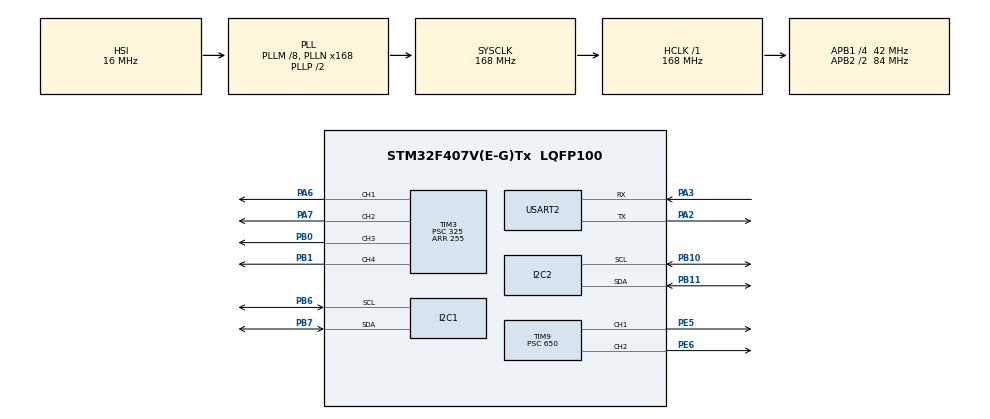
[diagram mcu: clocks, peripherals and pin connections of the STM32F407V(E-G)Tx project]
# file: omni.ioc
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Mcu.Family=STM32F4
Mcu.Name=STM32F407V(E-G)Tx
Mcu.Package=LQFP100
NVIC.PriorityGroup=NVIC_PRIORITYGROUP_0
NVIC.TIM5_IRQn=true\:0\:0\:false\:false\:true\:true\:true\:true
PA13.Mode=Serial_Wire
PA13.Signal=SYS_JTMS-SWDIO
PA14.Mode=Serial_Wire
PA14.Signal=SYS_JTCK-SWCLK
PA2.Mode=Asynchronous
PA2.Signal=USART2_TX
PA3.Mode=Asynchronous
PA3.Signal=USART2_RX
PA6.Signal=S_TIM3_CH1
PA7.Signal=S_TIM3_CH2
PB0.Signal=S_TIM3_CH3
PB1.Signal=S_TIM3_CH4
PB10.Mode=I2C
PB10.Signal=I2C2_SCL
PB11.Mode=I2C
PB11.Signal=I2C2_SDA
PB6.Mode=I2C
PB6.Signal=I2C1_SCL
PB7.Mode=I2C
PB7.Signal=I2C1_SDA
PE5.Signal=S_TIM9_CH1
PE6.Signal=S_TIM9_CH2
ProjectManager.HeapSize=0x200
ProjectManager.StackSize=0x400
ProjectManager.TargetToolchain=STM32CubeIDE
RCC.48MHZClocksFreq_Value=48000000
RCC.AHBFreq_Value=168000000
RCC.APB1CLKDivider=RCC_HCLK_DIV4
RCC.APB1Freq_Value=42000000
RCC.APB1TimFreq_Value=84000000
RCC.APB2CLKDivider=RCC_HCLK_DIV2
RCC.APB2Freq_Value=84000000
RCC.APB2TimFreq_Value=168000000
RCC.CortexFreq_Value=168000000
RCC.HCLKFreq_Value=168000000
RCC.HSE_VALUE=8000000
RCC.HSI_VALUE=16000000
RCC.PLLM=8
RCC.PLLN=168
RCC.PLLQ=7
RCC.SYSCLKFreq_VALUE=168000000
RCC.SYSCLKSource=RCC_SYSCLKSOURCE_PLLCLK
RCC.VCOOutputFreq_Value=336000000
SH.S_TIM3_CH1.0=TIM3_CH1,PWM Generation1 CH1
SH.S_TIM3_CH2.0=TIM3_CH2,PWM Generation2 CH2
SH.S_TIM3_CH3.0=TIM3_CH3,PWM Generation3 CH3
SH.S_TIM3_CH4.0=TIM3_CH4,PWM Generation4 CH4
SH.S_TIM9_CH1.0=TIM9_CH1,PWM Generation1 CH1
SH.S_TIM9_CH2.0=TIM9_CH2,PWM Generation2 CH2
TIM3.Channel-PWM\ Generation1\ CH1=TIM_CHANNEL_1
TIM3.Channel-PWM\ Generation2\ CH2=TIM_CHANNEL_2
TIM3.Channel-PWM\ Generation3\ CH3=TIM_CHANNEL_3
TIM3.Channel-PWM\ Generation4\ CH4=TIM_CHANNEL_4
TIM3.Period=255
TIM3.Prescaler=325
TIM5.Period=100-1
TIM5.Prescaler=8400-1
TIM9.Channel-PWM\ Generation1\ CH1=TIM_CHANNEL_1
TIM9.Channel-PWM\ Generation2\ CH2=TIM_CHANNEL_2
TIM9.Period=255
TIM9.Prescaler=650
USART2.VirtualMode=VM_ASYNC
VP_TIM3_VS_ClockSourceINT.Mode=Internal
VP_TIM5_VS_ClockSourceINT.Mode=Internal
VP_TIM9_VS_ClockSourceINT.Mode=Internal
board=STM32F407G-DISC1

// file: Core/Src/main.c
/* USER CODE BEGIN Header */
/**
  ******************************************************************************
  * @file           : main.c
  * @brief          : Main program body
  ******************************************************************************
  * @attention
  *
  * Copyright (c) 2026 STMicroelectronics.
  * All rights reserved.
  *
  * This software is licensed under terms that can be found in the LICENSE file
  * in the root directory of this software component.
  * If no LICENSE file comes with this software, it is provided AS-IS.
  *
  ******************************************************************************
  */
/* USER CODE END Header */
#include "main.h"

/* USER CODE BEGIN Includes */
#include<stdio.h>
#include<stdbool.h>
#include<stdint.h>
#include<string.h>
#include<math.h>
/* USER CODE END Includes */

/* USER CODE BEGIN PD */

#define BNO055_ADDR (0x28 << 1)
#define PWR_MODE 0x3E
#define OPR_MODE 0x3D
#define EUL_DATA_START 0x1A

uint8_t bno_data[6];
float current_heading, current_roll, current_pitch;

#define data_size 5
#define slave_addr 8
uint8_t data[data_size];
char buffer[100];

int L_joystick_x = 0, L_joystick_y = 0, R_joystick_x = 0, R_joystick_y = 0;

#define radius       1
#define length       1
#define MAX_PWM      60
#define DEADZONE     35
#define dt           0.001

uint8_t L2;
uint8_t R2;
bool L1;
bool R1;

bool right;
bool down;
bool up;
bool left;
bool square;
bool cross;
bool circle;
bool triangle;

int pwm1, pwm2, pwm3;

float bot_vel, theta;
int16_t omega;
  bool flag = false;
bool moving = false;
bool is_omega = false;
  bool pid_tim = false;

float P,I,D;
float p,i,d;

float kp = 0;
float ki = 0;
float kd = 0;
float KP = 2.5;
float KI = 0;
float KD = 0.5;

float k = 0.0015;
float error, error1, error2, d_error;
float ERR, ERR1, ERR2, D_error;
float correction;
float CORRECTION;
float target_heading = 0;

 bool pid = true;

 unsigned long  t_start, t_end;
 float dt2;

volatile bool imu = false;

uint32_t i2c1, i2c2;

/* USER CODE END PD */

I2C_HandleTypeDef hi2c1;
I2C_HandleTypeDef hi2c2;

TIM_HandleTypeDef htim3;
TIM_HandleTypeDef htim5;
TIM_HandleTypeDef htim9;

UART_HandleTypeDef huart2;

void SystemClock_Config(void);
static void MX_GPIO_Init(void);
static void MX_TIM3_Init(void);
static void MX_TIM9_Init(void);
static void MX_I2C1_Init(void);
static void MX_USART2_UART_Init(void);
static void MX_TIM5_Init(void);
static void MX_I2C2_Init(void);

/* USER CODE BEGIN 0 */

float radians(float angle){
  	return angle*2*3.14159265358979323846/360.0;
  }

  float degrees(float angle){
  	return angle*360.0/(2*3.14159265358979323846);
  }

  long map(long x, long in_min, long in_max, long out_min, long out_max)
  {
    return (x - in_min) * (out_max - out_min) / (in_max - in_min) + out_min;
  }

  float constrain(float num, float min, float max){

  	if(num > max) {
  		return max;
  	}

  	else if(num < min){
  		return min;
  	}

  	else {
  		return num;
  	}
  }

  float abs(float value){
	  if(value < 0){
		  return -value;
	  }
	  else{
		  return value;
	  }
  }

  void BNO055_init(){

   uint8_t pwr = 0x00;
   uint8_t opr = 0x0C;
   uint8_t config = 0x00;

    HAL_I2C_Mem_Write(&hi2c2, BNO055_ADDR, OPR_MODE, 1, &config, 1, 100); // setting to config mode
  	HAL_I2C_Mem_Write(&hi2c2, BNO055_ADDR, PWR_MODE, 1, &pwr, 1, 100);  // setting bno055 to normal mode
  	HAL_I2C_Mem_Write(&hi2c2, BNO055_ADDR, OPR_MODE, 1, &opr, 1, 100); // setting to Ndof mode

  	//HAL_Delay(700);

  }

  float normalise_angle(float angle)
  {
      if(angle > 180.0)  {
    	  angle -= 360.0;
      }
      if(angle < -180.0) {
    	  angle += 360.0;
      }
      return angle;
  }

  void get_angle(){

  	  //HAL_I2C_Mem_Read(&hi2c2, BNO055_ADDR,EUL_DATA_START , 1, bno_data, 6, 100);
//      current_heading = (bno_data[0] | (bno_data[1] << 8)/16);
//      current_roll = bno_data[2] | (bno_data[3] << 8)/16;
//      current_pitch = bno_data[4] | (bno_data[5] << 8)/16;

//  	int16_t heading_raw = (int16_t)(bno_data[0] | (bno_data[1] << 8));
//  	int16_t roll_raw    = (int16_t)(bno_data[2] | (bno_data[3] << 8));
//  	int16_t pitch_raw   = (int16_t)(bno_data[4] | (bno_data[5] << 8));
//
//  	    current_heading = normalise_angle(heading_raw / 16.0f);
//  	    current_roll    = roll_raw / 16.0f;
//  	    current_pitch   = pitch_raw / 16.0f;

//      char buffer1[100];
//
//    		    		      sprintf(buffer1, "heading = %d \t roll = %d \t pitch = %d \r\n",  current_heading, current_roll, current_pitch);
//    		    		 	  HAL_UART_Transmit(&huart2, (uint8_t*)buffer1, strlen(buffer1), 100);

  	 if(HAL_I2C_Mem_Read(&hi2c2, BNO055_ADDR, EUL_DATA_START, 1, bno_data, 6, 100) == HAL_OK){

  	    int16_t heading_raw = (int16_t)((bno_data[1] << 8) | bno_data[0]);
  	    current_heading = heading_raw / 16.0;

  	    current_heading = normalise_angle(current_heading);
  	 }

  	 else{

  		 uint8_t resetCommand = 0x20;
  		 uint8_t resetCommandTrigRegAddr = 0x3F;

  	             	i2c2 = HAL_I2C_GetError(&hi2c2);
  		            HAL_I2C_DeInit(&hi2c2);
  		  		    HAL_Delay(50);
  		  		    HAL_I2C_Init(&hi2c2);
  		  		    HAL_Delay(100);

  		     // Write to SYS_TRIGGER (0x3F)
  		     HAL_I2C_Mem_Write(&hi2c2, BNO055_ADDR, resetCommandTrigRegAddr, I2C_MEMADD_SIZE_8BIT, &resetCommand, sizeof(resetCommand), 100);

  		     // Critical Delay: The datasheet says wait 650ms after reset
  		     HAL_Delay(700);
  		     BNO055_init();

  	 }

  }

  void get_value(){

  	 if(HAL_OK == (HAL_I2C_Master_Receive(&hi2c1, slave_addr << 1, (uint8_t*) data, data_size, HAL_MAX_DELAY))){

  		 L_joystick_x = map(data[0], 0, 255, -127, 127);
  		 L_joystick_y = map(data[1], 0, 255, -127, 127);
//  	     R_joystick_x = map(data[2], 0, 255, -127, 127);
//  	     R_joystick_y = map(data[3], 0, 255, -127, 127);

  		 right = ((data[2] & (1 << 0)) ? 1 : 0);
  		 down = ((data[2] & (1 << 1)) ? 1 : 0);
  	     up = ((data[2] & (1 << 2)) ? 1 : 0);
  	     left = ((data[2] & (1 << 3)) ? 1 : 0);
  	     square = ((data[2] & (1 << 4)) ? 1 : 0);
  	     cross = ((data[2] & (1 << 5)) ? 1 : 0);
  	     circle = ((data[2] & (1 << 6)) ? 1 : 0);
  	     triangle = ((data[2] & (1 << 7)) ? 1 : 0);

  	     L2 = data[3];
  	     R2 = data[4];
//  	     L1 = data[7];
//  	     R1 = data[8];

  	     omega = map(L2-R2, -255, 255, -40, 40);

  	   if(abs(L_joystick_x) < DEADZONE)
  	 	  {
  	 		  L_joystick_x = 0;
  	 	  }
  	 	  if(abs(L_joystick_y) < DEADZONE)
  	 		  {
  	 			  L_joystick_y = 0;
  	 		  }
  	 	  if(abs(omega) < DEADZONE)
  	 		  {
  	 			  omega = 0;
  	 		  }

//  		 char buffer1[100];
//
//  		      sprintf(buffer1, "%d \t %d \t %d \t %d \t %d \t %d \t %d    %d \r\n",  L_joystick_x,  L_joystick_y,  R_joystick_x,  R_joystick_y, data[4], data[5], data[6], omega);
//  		 	  HAL_UART_Transmit(&huart2, (uint8_t*)buffer1, strlen(buffer1), 100);
//
 	}

  	 else{

  		                    i2c1 = HAL_I2C_GetError(&hi2c1);
  	                    	HAL_I2C_DeInit(&hi2c1);
  		  		  		    HAL_Delay(50);
  		  		  		    HAL_I2C_Init(&hi2c1);
  		  		  		    HAL_Delay(100);

  	 }

  }

  void find_wheel_vel(){

	  bot_vel = sqrt( pow(L_joystick_x, 2) + pow( L_joystick_y, 2) );
	  theta = atan2(L_joystick_y, L_joystick_x) + radians(target_heading);

//	  pwm1 = constrain(((bot_vel*cos(theta) - (length*omega)) / radius) + correction, -MAX_PWM, MAX_PWM);
//	  pwm2 = constrain(((sqrt(3)*bot_vel*sin(theta) - bot_vel*cos(theta) - 2*length*omega) / (2*radius)) + correction, -MAX_PWM, MAX_PWM);
//	  pwm3 = constrain((-1*((bot_vel*cos(theta) + sqrt(3)*bot_vel*sin(theta) + 2*length*omega) / (2*radius))) + correction, -MAX_PWM, MAX_PWM);
//

	  pwm1 = constrain(((bot_vel*cos(theta) - (length*omega)) / radius) + CORRECTION, -MAX_PWM, MAX_PWM);
	  pwm2 = constrain(((sqrt(3)*bot_vel*sin(theta) - bot_vel*cos(theta) - 2*length*omega) / (2*radius)) + CORRECTION, -MAX_PWM, MAX_PWM);
	  pwm3 = constrain((-1*((bot_vel*cos(theta) + sqrt(3)*bot_vel*sin(theta) + 2*length*omega) / (2*radius))) + CORRECTION, -MAX_PWM, MAX_PWM);

	  //target_heading += omega*k;

//	  char buffer1[100];
//
//	  		    		      sprintf(buffer1, "pwm1 = %d \t pwm2 = %d \t pwm3 = %d \r\n",  pwm1, pwm2, pwm3);
//	  		    		 	  HAL_UART_Transmit(&huart2, (uint8_t*)buffer1, strlen(buffer1), 100);

  }

  void motor1(int speed){

	  if(speed > 0){
		  TIM3->CCR1 = speed;          //PA6
		  TIM3->CCR2 = 0;               //PA7

	  }

	  else{
		  TIM3->CCR1 = 0;
		  TIM3->CCR2 = -1*speed;

	  }

  }

  void motor2(int speed){

 	  if(speed > 0){
 		  TIM3->CCR3 = speed;          //PB0
 		  TIM3->CCR4 = 0;                //PB1

 	  }

 	  else{
 		  TIM3->CCR3 = 0;
 		  TIM3->CCR4 = -1*speed;

 	  }

   }

  void motor3(int speed){

 	  if(speed > 0){
 		  TIM9->CCR1 = speed;     //PE5
 		  TIM9->CCR2 = 0;         //PE6
 	  }

 	  else{
 		  TIM9->CCR1 = 0;
 		  TIM9->CCR2 = -1*speed;

 	  }

   }

  void PID(){

//   error = normalise_angle(target_heading - current_heading);
//   d_error = error - error2;
//   error2 = error;
//
//  P = error*kp;
//  I = I + (error*dt*ki);
//  D = (d_error/dt)*kd;
//
//  correction = P+I+D;

  }

  void rotate_motor(){

	      motor1(pwm1);
	      motor2(pwm2);
	      motor3(pwm3);

  }

  void rotate_motor2(){

 	      motor1(constrain(correction, -70, 70));
 	      motor2(constrain(correction, -70, 70));
 	      motor3(constrain(correction, -70, 70));

   }

  void PID2(){

	  ERR = normalise_angle(target_heading - current_heading);
	   D_error = ERR - ERR2;
	   ERR2 = ERR;

	  p = ERR*KP;
	  i = i + (ERR*(float)dt2*KI);
	  d = (D_error/(float)dt2)*KD;

	  CORRECTION = p+i+d;

  }

/* USER CODE END 0 */

int main(void)
{

  /* MCU Configuration--------------------------------------------------------*/

  /* Reset of all peripherals, Initializes the Flash interface and the Systick. */
  HAL_Init();

  /* Configure the system clock */
  SystemClock_Config();

  /* Initialize all configured peripherals */
  MX_GPIO_Init();
  MX_TIM3_Init();
  MX_TIM9_Init();
  MX_I2C1_Init();
  MX_USART2_UART_Init();
  MX_TIM5_Init();
  MX_I2C2_Init();
  /* USER CODE BEGIN 2 */

  HAL_TIM_Base_Start_IT(&htim5);
  HAL_TIM_PWM_Start(&htim9, TIM_CHANNEL_1);
  HAL_TIM_PWM_Start(&htim9, TIM_CHANNEL_2);
  HAL_TIM_PWM_Start(&htim3, TIM_CHANNEL_3);
  HAL_TIM_PWM_Start(&htim3, TIM_CHANNEL_4);
  HAL_TIM_PWM_Start(&htim3, TIM_CHANNEL_1);
  HAL_TIM_PWM_Start(&htim3, TIM_CHANNEL_2);
  BNO055_init();

  /* USER CODE END 2 */

  /* Infinite loop */
  while (1)
  {

    /* USER CODE BEGIN 3 */

//	  get_value();
//	  get_angle();
//
//	  if(abs(L_joystick_x) < DEADZONE)
//	  {
//		  L_joystick_x = 0;
//	  }
//	  if(abs(L_joystick_y) < DEADZONE)
//		  {
//			  L_joystick_y = 0;
//		  }
//	  if(abs(omega) < DEADZONE)
//		  {
//			  omega = 0;
//		  }
//	  if(omega){
//			  		  pid = false;
//			  		  flag = true;
//			  	  }
//
//			  	 if(!omega && flag){
//			  		 flag = false;
//			  		 pid = true;
//			  		 target_heading = current_heading;
//			  	 }
//
//
//	 find_wheel_vel();
//	 rotate_motor();

	  t_start = HAL_GetTick();
	    dt2 = (t_start - t_end) / 1000.0;
	    t_end = t_start;

	      get_value();

	      if(imu){
		  get_angle();
		  imu = false;
	      }

		  if(abs(L_joystick_x) < DEADZONE)
		  {
			  L_joystick_x = 0;
		  }
		  if(abs(L_joystick_y) < DEADZONE)
			  {
				  L_joystick_y = 0;
			  }
		  if(abs(omega) < DEADZONE)
			  {
				  omega = 0;
			  }

		  if(omega){
				  		  pid = false;
				  		  flag = true;

				  	  }

				  	 if(!omega && flag){
				  		 flag = false;
				  		 pid = true;
				  		 target_heading = current_heading;
				  	 }

				  	if(pid){
				  			 PID2();
				  	}

		 find_wheel_vel();

		 rotate_motor();

		 char buffer1[100];

			  	  	     		    		      sprintf(buffer1,  " angle = %f   LX = %d  LY = %d \r\n", current_heading, L_joystick_x,  L_joystick_y);
			  	  	     		    		 	  HAL_UART_Transmit(&huart2, (uint8_t*)buffer1, strlen(buffer1), 100);

         HAL_Delay(15);

//	  if(!omega && flag){
//		  flag = false;
//		  pid = true;
//		  target_heading = current_heading;
//	  }

//	  else{
//		  pid = true;
////		  if(!omega && flag){
////			  flag = false;
////			  pid = true;
////			  target_heading = current_heading;
////		  }
//		  rotate_motor2();
//
//	  }

//	  char buffer1[350];
//
//	  	  		    		      sprintf(buffer1, "pwm1 = %d  pwm2 = %d  pwm3 = %d current angle = %f  correct = %.2f \r\n",  pwm1, pwm2, pwm3, current_heading, correction);
//	  	  		    		 	  HAL_UART_Transmit(&huart2, (uint8_t*)buffer1, strlen(buffer1), 100);

//	  char buffer1[100];
//
//	  	     		    		      Sprint(buffer1, "heading = %d \t roll = %d \t pitch = %d \r\n",  current_heading, current_roll, current_pitch);
//	  	     		    		 	  HAL_UART_Transmit(&huart2, (uint8_t*)buffer1, strlen(buffer1), 100);

  }
  /* USER CODE END 3 */
}

void SystemClock_Config(void)
{
  RCC_OscInitTypeDef RCC_OscInitStruct = {0};
  RCC_ClkInitTypeDef RCC_ClkInitStruct = {0};

  /** Configure the main internal regulator output voltage
  */
  __HAL_RCC_PWR_CLK_ENABLE();
  __HAL_PWR_VOLTAGESCALING_CONFIG(PWR_REGULATOR_VOLTAGE_SCALE1);

  /** Initializes the RCC Oscillators according to the specified parameters
  * in the RCC_OscInitTypeDef structure.
  */
  RCC_OscInitStruct.OscillatorType = RCC_OSCILLATORTYPE_HSI;
  RCC_OscInitStruct.HSIState = RCC_HSI_ON;
  RCC_OscInitStruct.HSICalibrationValue = RCC_HSICALIBRATION_DEFAULT;
  RCC_OscInitStruct.PLL.PLLState = RCC_PLL_ON;
  RCC_OscInitStruct.PLL.PLLSource = RCC_PLLSOURCE_HSI;
  RCC_OscInitStruct.PLL.PLLM = 8;
  RCC_OscInitStruct.PLL.PLLN = 168;
  RCC_OscInitStruct.PLL.PLLP = RCC_PLLP_DIV2;
  RCC_OscInitStruct.PLL.PLLQ = 7;
  if (HAL_RCC_OscConfig(&RCC_OscInitStruct) != HAL_OK)
  {
    Error_Handler();
  }

  /** Initializes the CPU, AHB and APB buses clocks
  */
  RCC_ClkInitStruct.ClockType = RCC_CLOCKTYPE_HCLK|RCC_CLOCKTYPE_SYSCLK
                              |RCC_CLOCKTYPE_PCLK1|RCC_CLOCKTYPE_PCLK2;
  RCC_ClkInitStruct.SYSCLKSource = RCC_SYSCLKSOURCE_PLLCLK;
  RCC_ClkInitStruct.AHBCLKDivider = RCC_SYSCLK_DIV1;
  RCC_ClkInitStruct.APB1CLKDivider = RCC_HCLK_DIV4;
  RCC_ClkInitStruct.APB2CLKDivider = RCC_HCLK_DIV2;

  if (HAL_RCC_ClockConfig(&RCC_ClkInitStruct, FLASH_LATENCY_5) != HAL_OK)
  {
    Error_Handler();
  }
}

static void MX_I2C1_Init(void)
{

  hi2c1.Instance = I2C1;
  hi2c1.Init.ClockSpeed = 100000;
  hi2c1.Init.DutyCycle = I2C_DUTYCYCLE_2;
  hi2c1.Init.OwnAddress1 = 0;
  hi2c1.Init.AddressingMode = I2C_ADDRESSINGMODE_7BIT;
  hi2c1.Init.DualAddressMode = I2C_DUALADDRESS_DISABLE;
  hi2c1.Init.OwnAddress2 = 0;
  hi2c1.Init.GeneralCallMode = I2C_GENERALCALL_DISABLE;
  hi2c1.Init.NoStretchMode = I2C_NOSTRETCH_DISABLE;
  if (HAL_I2C_Init(&hi2c1) != HAL_OK)
  {
    Error_Handler();
  }

}

static void MX_I2C2_Init(void)
{

  hi2c2.Instance = I2C2;
  hi2c2.Init.ClockSpeed = 100000;
  hi2c2.Init.DutyCycle = I2C_DUTYCYCLE_2;
  hi2c2.Init.OwnAddress1 = 0;
  hi2c2.Init.AddressingMode = I2C_ADDRESSINGMODE_7BIT;
  hi2c2.Init.DualAddressMode = I2C_DUALADDRESS_DISABLE;
  hi2c2.Init.OwnAddress2 = 0;
  hi2c2.Init.GeneralCallMode = I2C_GENERALCALL_DISABLE;
  hi2c2.Init.NoStretchMode = I2C_NOSTRETCH_DISABLE;
  if (HAL_I2C_Init(&hi2c2) != HAL_OK)
  {
    Error_Handler();
  }

}

static void MX_TIM3_Init(void)
{

  TIM_ClockConfigTypeDef sClockSourceConfig = {0};
  TIM_MasterConfigTypeDef sMasterConfig = {0};
  TIM_OC_InitTypeDef sConfigOC = {0};

  htim3.Instance = TIM3;
  htim3.Init.Prescaler = 325;
  htim3.Init.CounterMode = TIM_COUNTERMODE_UP;
  htim3.Init.Period = 255;
  htim3.Init.ClockDivision = TIM_CLOCKDIVISION_DIV1;
  htim3.Init.AutoReloadPreload = TIM_AUTORELOAD_PRELOAD_DISABLE;
  if (HAL_TIM_Base_Init(&htim3) != HAL_OK)
  {
    Error_Handler();
  }
  sClockSourceConfig.ClockSource = TIM_CLOCKSOURCE_INTERNAL;
  if (HAL_TIM_ConfigClockSource(&htim3, &sClockSourceConfig) != HAL_OK)
  {
    Error_Handler();
  }
  if (HAL_TIM_PWM_Init(&htim3) != HAL_OK)
  {
    Error_Handler();
  }
  sMasterConfig.MasterOutputTrigger = TIM_TRGO_RESET;
  sMasterConfig.MasterSlaveMode = TIM_MASTERSLAVEMODE_DISABLE;
  if (HAL_TIMEx_MasterConfigSynchronization(&htim3, &sMasterConfig) != HAL_OK)
  {
    Error_Handler();
  }
  sConfigOC.OCMode = TIM_OCMODE_PWM1;
  sConfigOC.Pulse = 0;
  sConfigOC.OCPolarity = TIM_OCPOLARITY_HIGH;
  sConfigOC.OCFastMode = TIM_OCFAST_DISABLE;
  if (HAL_TIM_PWM_ConfigChannel(&htim3, &sConfigOC, TIM_CHANNEL_1) != HAL_OK)
  {
    Error_Handler();
  }
  if (HAL_TIM_PWM_ConfigChannel(&htim3, &sConfigOC, TIM_CHANNEL_2) != HAL_OK)
  {
    Error_Handler();
  }
  if (HAL_TIM_PWM_ConfigChannel(&htim3, &sConfigOC, TIM_CHANNEL_3) != HAL_OK)
  {
    Error_Handler();
  }
  if (HAL_TIM_PWM_ConfigChannel(&htim3, &sConfigOC, TIM_CHANNEL_4) != HAL_OK)
  {
    Error_Handler();
  }
  HAL_TIM_MspPostInit(&htim3);

}

static void MX_TIM5_Init(void)
{

  TIM_ClockConfigTypeDef sClockSourceConfig = {0};
  TIM_MasterConfigTypeDef sMasterConfig = {0};

  htim5.Instance = TIM5;
  htim5.Init.Prescaler = 8400-1;
  htim5.Init.CounterMode = TIM_COUNTERMODE_UP;
  htim5.Init.Period = 100-1;
  htim5.Init.ClockDivision = TIM_CLOCKDIVISION_DIV1;
  htim5.Init.AutoReloadPreload = TIM_AUTORELOAD_PRELOAD_DISABLE;
  if (HAL_TIM_Base_Init(&htim5) != HAL_OK)
  {
    Error_Handler();
  }
  sClockSourceConfig.ClockSource = TIM_CLOCKSOURCE_INTERNAL;
  if (HAL_TIM_ConfigClockSource(&htim5, &sClockSourceConfig) != HAL_OK)
  {
    Error_Handler();
  }
  sMasterConfig.MasterOutputTrigger = TIM_TRGO_RESET;
  sMasterConfig.MasterSlaveMode = TIM_MASTERSLAVEMODE_DISABLE;
  if (HAL_TIMEx_MasterConfigSynchronization(&htim5, &sMasterConfig) != HAL_OK)
  {
    Error_Handler();
  }

}

static void MX_TIM9_Init(void)
{

  TIM_ClockConfigTypeDef sClockSourceConfig = {0};
  TIM_OC_InitTypeDef sConfigOC = {0};

  htim9.Instance = TIM9;
  htim9.Init.Prescaler = 650;
  htim9.Init.CounterMode = TIM_COUNTERMODE_UP;
  htim9.Init.Period = 255;
  htim9.Init.ClockDivision = TIM_CLOCKDIVISION_DIV1;
  htim9.Init.AutoReloadPreload = TIM_AUTORELOAD_PRELOAD_DISABLE;
  if (HAL_TIM_Base_Init(&htim9) != HAL_OK)
  {
    Error_Handler();
  }
  sClockSourceConfig.ClockSource = TIM_CLOCKSOURCE_INTERNAL;
  if (HAL_TIM_ConfigClockSource(&htim9, &sClockSourceConfig) != HAL_OK)
  {
    Error_Handler();
  }
  if (HAL_TIM_PWM_Init(&htim9) != HAL_OK)
  {
    Error_Handler();
  }
  sConfigOC.OCMode = TIM_OCMODE_PWM1;
  sConfigOC.Pulse = 0;
  sConfigOC.OCPolarity = TIM_OCPOLARITY_HIGH;
  sConfigOC.OCFastMode = TIM_OCFAST_DISABLE;
  if (HAL_TIM_PWM_ConfigChannel(&htim9, &sConfigOC, TIM_CHANNEL_1) != HAL_OK)
  {
    Error_Handler();
  }
  if (HAL_TIM_PWM_ConfigChannel(&htim9, &sConfigOC, TIM_CHANNEL_2) != HAL_OK)
  {
    Error_Handler();
  }
  HAL_TIM_MspPostInit(&htim9);

}

static void MX_USART2_UART_Init(void)
{

  huart2.Instance = USART2;
  huart2.Init.BaudRate = 115200;
  huart2.Init.WordLength = UART_WORDLENGTH_8B;
  huart2.Init.StopBits = UART_STOPBITS_1;
  huart2.Init.Parity = UART_PARITY_NONE;
  huart2.Init.Mode = UART_MODE_TX_RX;
  huart2.Init.HwFlowCtl = UART_HWCONTROL_NONE;
  huart2.Init.OverSampling = UART_OVERSAMPLING_16;
  if (HAL_UART_Init(&huart2) != HAL_OK)
  {
    Error_Handler();
  }

}

static void MX_GPIO_Init(void)
{

  /* GPIO Ports Clock Enable */
  __HAL_RCC_GPIOE_CLK_ENABLE();
  __HAL_RCC_GPIOA_CLK_ENABLE();
  __HAL_RCC_GPIOB_CLK_ENABLE();

}

/* USER CODE BEGIN 4 */

void HAL_TIM_PeriodElapsedCallback(TIM_HandleTypeDef *htim)
{
  /* Prevent unused argument(s) compilation warning */
  UNUSED(htim);

  /* NOTE : This function should not be modified, when the callback is needed,
            the HAL_TIM_PeriodElapsedCallback could be implemented in the user file
   */
  if(htim->Instance == TIM5){

	  imu = true;

  }
}

/* USER CODE END 4 */

void Error_Handler(void)
{
  __disable_irq();
  while (1)
  {
  }
}
